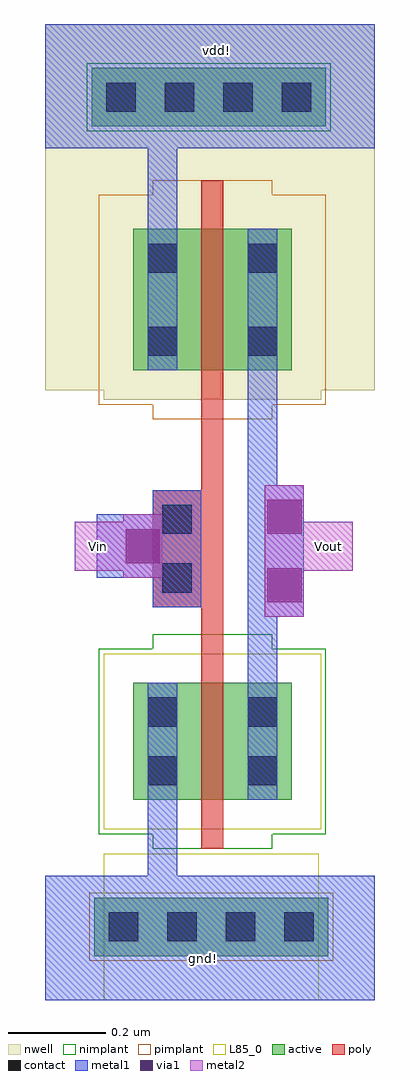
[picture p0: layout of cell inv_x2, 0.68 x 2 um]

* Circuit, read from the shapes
.subckt inv_x2 Vin Vout gnd! vdd!
M1 Vout Vin gnd! gnd! nfet w=0.24u l=0.045u
M2 Vout Vin vdd! vdd! pfet w=0.29u l=0.045u
.ends

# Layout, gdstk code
import gdstk
lib = gdstk.Library(unit=1e-6, precision=5e-10)
def R(c, l, rs):  # rectangles x0, y0, x1, y1
    for r in rs: c.add(gdstk.rectangle(r[:2], r[2:], *l))
def A(c, l, x, y, w, h, nx, ny, dx, dy):  # array of equal rectangles
    R(c, l, [(x+i*dx, y+j*dy, x+i*dx+w, y+j*dy+h) for i in range(nx) for j in range(ny)])
active = (1, 0)
nwell = (2, 0)
poly = (3, 0)
nimplant = (4, 0)
pimplant = (5, 0)
contact = (6, 0)
metal1 = (7, 0)
via1 = (8, 0)
metal2 = (9, 0)
L85_0 = (85, 0)

nmos1v_cdns_762655379530 = lib.new_cell('nmos1v_CDNS_762655379530')
R(nmos1v_cdns_762655379530, active, [(-0.14,0,0,0.24), (0,0,0.045,0.24), (0.045,0,0.185,0.24)])
R(nmos1v_cdns_762655379530, poly, [(0,-0.1,0.045,-0.05), (0,-0.05,0.045,0), (0,0,0.045,0.24), (0,0.24,0.045,0.29), (0,0.29,0.045,0.34)])
R(nmos1v_cdns_762655379530, nimplant, [(-0.1,-0.1,0.145,0.34), (-0.21,-0.07,0.255,0.31)])
R(nmos1v_cdns_762655379530, contact, [(-0.11,0.03,-0.05,0.09), (0.095,0.03,0.155,0.09), (-0.11,0.15,-0.05,0.21), (0.095,0.15,0.155,0.21)])
R(nmos1v_cdns_762655379530, metal1, [(-0.11,0,-0.05,0.24), (0.095,0,0.155,0.24)])
R(nmos1v_cdns_762655379530, L85_0, [(-0.2,-0.06,0.245,0.3)])

pmos1v_cdns_762655379531 = lib.new_cell('pmos1v_CDNS_762655379531')
R(pmos1v_cdns_762655379531, active, [(-0.14,0,0,0.29), (0,0,0.045,0.29), (0.045,0,0.185,0.29)])
R(pmos1v_cdns_762655379531, nwell, [(-0.2,-0.06,0.245,0.35)])
R(pmos1v_cdns_762655379531, poly, [(0,-0.1,0.045,-0.05), (0,-0.05,0.045,0), (0,0,0.045,0.29), (0,0.29,0.045,0.34), (0,0.34,0.045,0.39)])
R(pmos1v_cdns_762655379531, pimplant, [(-0.1,-0.1,0.145,0.39), (-0.21,-0.07,0.255,0.36)])
R(pmos1v_cdns_762655379531, contact, [(-0.11,0.03,-0.05,0.09), (0.095,0.03,0.155,0.09), (-0.11,0.2,-0.05,0.26), (0.095,0.2,0.155,0.26)])
R(pmos1v_cdns_762655379531, metal1, [(-0.11,0,-0.05,0.29), (0.095,0,0.155,0.29)])

m2_m1_cdns_762655379530 = lib.new_cell('M2_M1_CDNS_762655379530')
R(m2_m1_cdns_762655379530, metal1, [(-0.04,-0.135,0.04,0.135)])
R(m2_m1_cdns_762655379530, via1, [(-0.035,-0.105,0.035,-0.035), (-0.035,0.035,0.035,0.105)])
R(m2_m1_cdns_762655379530, metal2, [(-0.04,-0.135,0.04,0.135)])

m1_psub_cdns_76265537953 = lib.new_cell('M1_PSUB_CDNS_762655379531')
R(m1_psub_cdns_76265537953, active, [(-0.24,-0.06,0.24,0.06)])
R(m1_psub_cdns_76265537953, pimplant, [(-0.25,-0.07,0.25,0.07)])
A(m1_psub_cdns_76265537953, contact, -0.21, -0.03, 0.06, 0.06, 4, 1, 0.12, 0)
R(m1_psub_cdns_76265537953, metal1, [(-0.21,-0.06,0.21,0.06)])
R(m1_psub_cdns_76265537953, L85_0, [(-0.22,-0.15,0.22,0.15)])

m1_po_cdns_762655379532 = lib.new_cell('M1_PO_CDNS_762655379532')
R(m1_po_cdns_762655379532, poly, [(-0.05,-0.12,0.05,0.12)])
R(m1_po_cdns_762655379532, contact, [(-0.03,-0.09,0.03,-0.03), (-0.03,0.03,0.03,0.09)])
R(m1_po_cdns_762655379532, metal1, [(-0.05,-0.12,0.05,0.12)])

m2_m1_cdns_762655379533 = lib.new_cell('M2_M1_CDNS_762655379533')
R(m2_m1_cdns_762655379533, metal1, [(-0.095,-0.065,0.095,0.065)])
R(m2_m1_cdns_762655379533, via1, [(-0.035,-0.035,0.035,0.035)])
R(m2_m1_cdns_762655379533, metal2, [(-0.04,-0.065,0.04,0.065)])

m1_nwell_cdns_7626553795 = lib.new_cell('M1_NWELL_CDNS_762655379534')
R(m1_nwell_cdns_7626553795, active, [(-0.24,-0.06,0.24,0.06)])
R(m1_nwell_cdns_7626553795, nwell, [(-0.27,-0.15,0.27,0.15)])
R(m1_nwell_cdns_7626553795, nimplant, [(-0.25,-0.07,0.25,0.07)])
A(m1_nwell_cdns_7626553795, contact, -0.21, -0.03, 0.06, 0.06, 4, 1, 0.12, 0)
R(m1_nwell_cdns_7626553795, metal1, [(-0.21,-0.06,0.21,0.06)])

inv_x2 = lib.new_cell('inv_x2')
R(inv_x2, nwell, [(0,1.25,0.675,2)])
R(inv_x2, metal1, [(0,0,0.675,0.255), (0.275,0.035,0.375,0.135), (0,1.745,0.675,2), (0.3,1.895,0.4,1.995)])
R(inv_x2, metal2, [(0.06,0.88,0.16,0.98), (0.53,0.88,0.63,0.98)])
inv_x2.add(gdstk.FlexPath([(0.3425,1.325),(0.3425,0.63)], 0.045, ends="flush", simple_path=True, layer=3, datatype=0))  # poly
inv_x2.add(gdstk.FlexPath([(0.24,1.545),(0.24,1.93)], 0.06, ends=(0, 0.07), simple_path=True, layer=7, datatype=0))  # metal1
inv_x2.add(gdstk.FlexPath([(0.24,0.41),(0.24,0.07)], 0.06, ends=(0, 0.07), simple_path=True, layer=7, datatype=0))  # metal1
inv_x2.add(gdstk.FlexPath([(0.445,1.425),(0.445,0.53)], 0.06, ends="flush", simple_path=True, layer=7, datatype=0))  # metal1
inv_x2.add(gdstk.Reference(nmos1v_cdns_762655379530, (0.32,0.41)))
inv_x2.add(gdstk.Reference(pmos1v_cdns_762655379531, (0.32,1.29)))
inv_x2.add(gdstk.Reference(m2_m1_cdns_762655379530, (0.49,0.92)))
inv_x2.add(gdstk.Reference(m1_psub_cdns_76265537953, (0.34,0.15)))
inv_x2.add(gdstk.Reference(m1_po_cdns_762655379532, (0.27,0.925)))
inv_x2.add(gdstk.Reference(m2_m1_cdns_762655379533, (0.2,0.93)))
inv_x2.add(gdstk.Reference(m1_nwell_cdns_7626553795, (0.335,1.85)))
inv_x2.add(gdstk.Label('vdd!', (0.35,1.945), layer=7, texttype=0))
inv_x2.add(gdstk.Label('gnd!', (0.325,0.085), layer=7, texttype=0))
inv_x2.add(gdstk.Label('Vin', (0.11,0.93), layer=9, texttype=0))
inv_x2.add(gdstk.Label('Vout', (0.58,0.93), layer=9, texttype=0))

lib.write_gds('inv_x2.gds')
